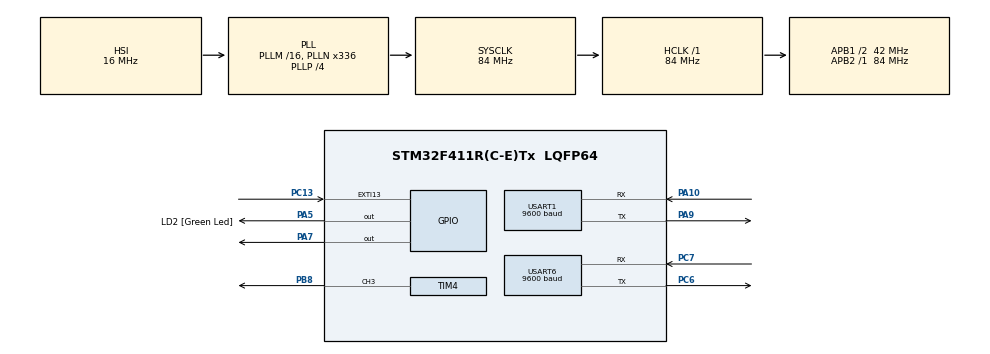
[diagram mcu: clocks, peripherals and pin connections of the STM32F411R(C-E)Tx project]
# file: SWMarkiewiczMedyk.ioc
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Mcu.Family=STM32F4
Mcu.Name=STM32F411R(C-E)Tx
Mcu.Package=LQFP64
NVIC.EXTI15_10_IRQn=true\:0\:0\:true\:false\:true
NVIC.PriorityGroup=NVIC_PRIORITYGROUP_4
NVIC.TIM1_UP_TIM10_IRQn=true\:0\:0\:false\:false\:true
NVIC.TIM4_IRQn=true\:0\:0\:false\:false\:true
NVIC.USART1_IRQn=true\:0\:0\:false\:false\:true
NVIC.USART6_IRQn=true\:0\:0\:false\:false\:true
PA10.Mode=Asynchronous
PA10.Signal=USART1_RX
PA13.GPIO_Label=TMS
PA13.Signal=SYS_JTMS-SWDIO
PA14.GPIO_Label=TCK
PA14.Signal=SYS_JTCK-SWCLK
PA2.GPIO_Label=USART_TX
PA2.Signal=USART2_TX
PA3.GPIO_Label=USART_RX
PA3.Signal=USART2_RX
PA5.GPIO_Label=LD2 [Green Led]
PA5.Signal=GPIO_Output
PA7.Signal=GPIO_Output
PA9.Mode=Asynchronous
PA9.Signal=USART1_TX
PB3.GPIO_Label=SWO
PB3.Signal=SYS_JTDO-SWO
PB8.Signal=S_TIM4_CH3
PC13-ANTI_TAMP.Signal=GPXTI13
PC14-OSC32_IN.Signal=RCC_OSC32_IN
PC15-OSC32_OUT.Signal=RCC_OSC32_OUT
PC6.Mode=Asynchronous
PC6.Signal=USART6_TX
PC7.Mode=Asynchronous
PC7.Signal=USART6_RX
PH0\ -\ OSC_IN.Signal=RCC_OSC_IN
PH1\ -\ OSC_OUT.Signal=RCC_OSC_OUT
ProjectManager.HeapSize=0x200
ProjectManager.StackSize=0x400
ProjectManager.TargetToolchain=MDK-ARM V5
RCC.48MHZClocksFreq_Value=84000000
RCC.AHBFreq_Value=84000000
RCC.APB1CLKDivider=RCC_HCLK_DIV2
RCC.APB1Freq_Value=42000000
RCC.APB1TimFreq_Value=84000000
RCC.APB2Freq_Value=84000000
RCC.APB2TimFreq_Value=84000000
RCC.CortexFreq_Value=84000000
RCC.FLatency-AdvancedSettings=FLASH_LATENCY_2
RCC.HCLKFreq_Value=84000000
RCC.HSE_VALUE=8000000
RCC.HSI_VALUE=16000000
RCC.LSE_VALUE=32768
RCC.PLLN=336
RCC.PLLP=RCC_PLLP_DIV4
RCC.SYSCLKFreq_VALUE=84000000
RCC.SYSCLKSource=RCC_SYSCLKSOURCE_PLLCLK
RCC.VCOOutputFreq_Value=336000000
SH.S_TIM4_CH3.0=TIM4_CH3,PWM Generation3 CH3
TIM10.Period=499
TIM10.Prescaler=9999
TIM4.Channel-PWM\ Generation3\ CH3=TIM_CHANNEL_3
TIM4.ClockDivision=TIM_CLOCKDIVISION_DIV1
TIM4.Period=199
TIM4.Prescaler=4999
TIM4.Pulse-PWM\ Generation3\ CH3=9
USART1.BaudRate=9600
USART6.BaudRate=9600
VP_TIM10_VS_ClockSourceINT.Mode=Enable_Timer
VP_TIM4_VS_ClockSourceINT.Mode=Internal
board=NUCLEO-F411RE

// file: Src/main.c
/**
  ******************************************************************************
  * File Name          : main.c
  * Description        : Main program body
  ******************************************************************************
  *
  * COPYRIGHT(c) 2017 STMicroelectronics
  *
  * Redistribution and use in source and binary forms, with or without modification,
  * are permitted provided that the following conditions are met:
  *   1. Redistributions of source code must retain the above copyright notice,
  *      this list of conditions and the following disclaimer.
  *   2. Redistributions in binary form must reproduce the above copyright notice,
  *      this list of conditions and the following disclaimer in the documentation
  *      and/or other materials provided with the distribution.
  *   3. Neither the name of STMicroelectronics nor the names of its contributors
  *      may be used to endorse or promote products derived from this software
  *      without specific prior written permission.
  *
  * THIS SOFTWARE IS PROVIDED BY THE COPYRIGHT HOLDERS AND CONTRIBUTORS "AS IS"
  * AND ANY EXPRESS OR IMPLIED WARRANTIES, INCLUDING, BUT NOT LIMITED TO, THE
  * IMPLIED WARRANTIES OF MERCHANTABILITY AND FITNESS FOR A PARTICULAR PURPOSE ARE
  * DISCLAIMED. IN NO EVENT SHALL THE COPYRIGHT HOLDER OR CONTRIBUTORS BE LIABLE
  * FOR ANY DIRECT, INDIRECT, INCIDENTAL, SPECIAL, EXEMPLARY, OR CONSEQUENTIAL
  * DAMAGES (INCLUDING, BUT NOT LIMITED TO, PROCUREMENT OF SUBSTITUTE GOODS OR
  * SERVICES; LOSS OF USE, DATA, OR PROFITS; OR BUSINESS INTERRUPTION) HOWEVER
  * CAUSED AND ON ANY THEORY OF LIABILITY, WHETHER IN CONTRACT, STRICT LIABILITY,
  * OR TORT (INCLUDING NEGLIGENCE OR OTHERWISE) ARISING IN ANY WAY OUT OF THE USE
  * OF THIS SOFTWARE, EVEN IF ADVISED OF THE POSSIBILITY OF SUCH DAMAGE.
  *
  ******************************************************************************
  */
#include "main.h"
#include "stm32f4xx_hal.h"

TIM_HandleTypeDef htim4;
TIM_HandleTypeDef htim10;

UART_HandleTypeDef huart1;
UART_HandleTypeDef huart6;

/* USER CODE BEGIN PV */
uint8_t received;

/* Private variables ---------------------------------------------------------*/
/* USER CODE END PV */

void SystemClock_Config(void);
void Error_Handler(void);
static void MX_GPIO_Init(void);
static void MX_USART1_UART_Init(void);
static void MX_TIM4_Init(void);
static void MX_USART6_UART_Init(void);
static void MX_TIM10_Init(void);
void HAL_TIM_MspPostInit(TIM_HandleTypeDef *htim);

/* USER CODE BEGIN PFP */
void Change_Duty_Cycle();
/* Private function prototypes -----------------------------------------------*/

/* USER CODE END PFP */

/* USER CODE BEGIN 0 */
extern volatile int counter;
volatile int counter = 0;
extern volatile uint16_t duty;
volatile uint16_t duty = 12;
/* USER CODE END 0 */

int main(void)
{

  /* MCU Configuration----------------------------------------------------------*/

  /* Reset of all peripherals, Initializes the Flash interface and the Systick. */
  HAL_Init();

  /* Configure the system clock */
  SystemClock_Config();

  /* Initialize all configured peripherals */
  MX_GPIO_Init();
  MX_USART1_UART_Init();
  MX_TIM4_Init();
  MX_USART6_UART_Init();
  MX_TIM10_Init();

  /* USER CODE BEGIN 2 */
	HAL_UART_Receive_IT(&huart1, &received, 	1);
	HAL_UART_Receive_IT(&huart6, &received, 	1);
	HAL_GPIO_WritePin(LD2_GPIO_Port, LD2_Pin, GPIO_PIN_RESET);
	HAL_GPIO_WritePin(GPIOA, GPIO_PIN_7, GPIO_PIN_RESET);
	HAL_TIM_PWM_Start(&htim4, TIM_CHANNEL_3);
	HAL_TIM_Base_Start_IT(&htim10);
	TIM4 -> CCR3 = duty;
  /* USER CODE END 2 */

  /* Infinite loop */
  while (1)
  {

  }

}

/** System Clock Configuration
*/
void SystemClock_Config(void)
{

  RCC_OscInitTypeDef RCC_OscInitStruct;
  RCC_ClkInitTypeDef RCC_ClkInitStruct;

    /**Configure the main internal regulator output voltage
    */
  __HAL_RCC_PWR_CLK_ENABLE();

  __HAL_PWR_VOLTAGESCALING_CONFIG(PWR_REGULATOR_VOLTAGE_SCALE1);

    /**Initializes the CPU, AHB and APB busses clocks
    */
  RCC_OscInitStruct.OscillatorType = RCC_OSCILLATORTYPE_HSI;
  RCC_OscInitStruct.HSIState = RCC_HSI_ON;
  RCC_OscInitStruct.HSICalibrationValue = 16;
  RCC_OscInitStruct.PLL.PLLState = RCC_PLL_ON;
  RCC_OscInitStruct.PLL.PLLSource = RCC_PLLSOURCE_HSI;
  RCC_OscInitStruct.PLL.PLLM = 16;
  RCC_OscInitStruct.PLL.PLLN = 336;
  RCC_OscInitStruct.PLL.PLLP = RCC_PLLP_DIV4;
  RCC_OscInitStruct.PLL.PLLQ = 4;
  if (HAL_RCC_OscConfig(&RCC_OscInitStruct) != HAL_OK)
  {
    Error_Handler();
  }

    /**Initializes the CPU, AHB and APB busses clocks
    */
  RCC_ClkInitStruct.ClockType = RCC_CLOCKTYPE_HCLK|RCC_CLOCKTYPE_SYSCLK
                              |RCC_CLOCKTYPE_PCLK1|RCC_CLOCKTYPE_PCLK2;
  RCC_ClkInitStruct.SYSCLKSource = RCC_SYSCLKSOURCE_PLLCLK;
  RCC_ClkInitStruct.AHBCLKDivider = RCC_SYSCLK_DIV1;
  RCC_ClkInitStruct.APB1CLKDivider = RCC_HCLK_DIV2;
  RCC_ClkInitStruct.APB2CLKDivider = RCC_HCLK_DIV1;

  if (HAL_RCC_ClockConfig(&RCC_ClkInitStruct, FLASH_LATENCY_2) != HAL_OK)
  {
    Error_Handler();
  }

    /**Configure the Systick interrupt time
    */
  HAL_SYSTICK_Config(HAL_RCC_GetHCLKFreq()/1000);

    /**Configure the Systick
    */
  HAL_SYSTICK_CLKSourceConfig(SYSTICK_CLKSOURCE_HCLK);

  /* SysTick_IRQn interrupt configuration */
  HAL_NVIC_SetPriority(SysTick_IRQn, 0, 0);
}

/* TIM4 init function */
static void MX_TIM4_Init(void)
{

  TIM_ClockConfigTypeDef sClockSourceConfig;
  TIM_MasterConfigTypeDef sMasterConfig;
  TIM_OC_InitTypeDef sConfigOC;

  htim4.Instance = TIM4;
  htim4.Init.Prescaler = 4999;
  htim4.Init.CounterMode = TIM_COUNTERMODE_UP;
  htim4.Init.Period = 199;
  htim4.Init.ClockDivision = TIM_CLOCKDIVISION_DIV1;
  if (HAL_TIM_Base_Init(&htim4) != HAL_OK)
  {
    Error_Handler();
  }

  sClockSourceConfig.ClockSource = TIM_CLOCKSOURCE_INTERNAL;
  if (HAL_TIM_ConfigClockSource(&htim4, &sClockSourceConfig) != HAL_OK)
  {
    Error_Handler();
  }

  if (HAL_TIM_PWM_Init(&htim4) != HAL_OK)
  {
    Error_Handler();
  }

  sMasterConfig.MasterOutputTrigger = TIM_TRGO_RESET;
  sMasterConfig.MasterSlaveMode = TIM_MASTERSLAVEMODE_DISABLE;
  if (HAL_TIMEx_MasterConfigSynchronization(&htim4, &sMasterConfig) != HAL_OK)
  {
    Error_Handler();
  }

  sConfigOC.OCMode = TIM_OCMODE_PWM1;
  sConfigOC.Pulse = 9;
  sConfigOC.OCPolarity = TIM_OCPOLARITY_HIGH;
  sConfigOC.OCFastMode = TIM_OCFAST_DISABLE;
  if (HAL_TIM_PWM_ConfigChannel(&htim4, &sConfigOC, TIM_CHANNEL_3) != HAL_OK)
  {
    Error_Handler();
  }

  HAL_TIM_MspPostInit(&htim4);

}

/* TIM10 init function */
static void MX_TIM10_Init(void)
{

  htim10.Instance = TIM10;
  htim10.Init.Prescaler = 9999;
  htim10.Init.CounterMode = TIM_COUNTERMODE_UP;
  htim10.Init.Period = 499;
  htim10.Init.ClockDivision = TIM_CLOCKDIVISION_DIV1;
  if (HAL_TIM_Base_Init(&htim10) != HAL_OK)
  {
    Error_Handler();
  }

}

/* USART1 init function */
static void MX_USART1_UART_Init(void)
{

  huart1.Instance = USART1;
  huart1.Init.BaudRate = 9600;
  huart1.Init.WordLength = UART_WORDLENGTH_8B;
  huart1.Init.StopBits = UART_STOPBITS_1;
  huart1.Init.Parity = UART_PARITY_NONE;
  huart1.Init.Mode = UART_MODE_TX_RX;
  huart1.Init.HwFlowCtl = UART_HWCONTROL_NONE;
  huart1.Init.OverSampling = UART_OVERSAMPLING_16;
  if (HAL_UART_Init(&huart1) != HAL_OK)
  {
    Error_Handler();
  }

}

/* USART6 init function */
static void MX_USART6_UART_Init(void)
{

  huart6.Instance = USART6;
  huart6.Init.BaudRate = 9600;
  huart6.Init.WordLength = UART_WORDLENGTH_8B;
  huart6.Init.StopBits = UART_STOPBITS_1;
  huart6.Init.Parity = UART_PARITY_NONE;
  huart6.Init.Mode = UART_MODE_TX_RX;
  huart6.Init.HwFlowCtl = UART_HWCONTROL_NONE;
  huart6.Init.OverSampling = UART_OVERSAMPLING_16;
  if (HAL_UART_Init(&huart6) != HAL_OK)
  {
    Error_Handler();
  }

}

/** Configure pins as
        * Analog
        * Input
        * Output
        * EVENT_OUT
        * EXTI
     PA2   ------> USART2_TX
     PA3   ------> USART2_RX
*/
static void MX_GPIO_Init(void)
{

  GPIO_InitTypeDef GPIO_InitStruct;

  /* GPIO Ports Clock Enable */
  __HAL_RCC_GPIOC_CLK_ENABLE();
  __HAL_RCC_GPIOH_CLK_ENABLE();
  __HAL_RCC_GPIOA_CLK_ENABLE();
  __HAL_RCC_GPIOB_CLK_ENABLE();

  /*Configure GPIO pin : PC13 */
  GPIO_InitStruct.Pin = GPIO_PIN_13;
  GPIO_InitStruct.Mode = GPIO_MODE_IT_RISING;
  GPIO_InitStruct.Pull = GPIO_NOPULL;
  HAL_GPIO_Init(GPIOC, &GPIO_InitStruct);

  /*Configure GPIO pins : USART_TX_Pin USART_RX_Pin */
  GPIO_InitStruct.Pin = USART_TX_Pin|USART_RX_Pin;
  GPIO_InitStruct.Mode = GPIO_MODE_AF_PP;
  GPIO_InitStruct.Pull = GPIO_NOPULL;
  GPIO_InitStruct.Speed = GPIO_SPEED_FREQ_VERY_HIGH;
  GPIO_InitStruct.Alternate = GPIO_AF7_USART2;
  HAL_GPIO_Init(GPIOA, &GPIO_InitStruct);

  /*Configure GPIO pins : LD2_Pin PA7 */
  GPIO_InitStruct.Pin = LD2_Pin|GPIO_PIN_7;
  GPIO_InitStruct.Mode = GPIO_MODE_OUTPUT_PP;
  GPIO_InitStruct.Pull = GPIO_NOPULL;
  GPIO_InitStruct.Speed = GPIO_SPEED_FREQ_LOW;
  HAL_GPIO_Init(GPIOA, &GPIO_InitStruct);

  /*Configure GPIO pin Output Level */
  HAL_GPIO_WritePin(GPIOA, LD2_Pin|GPIO_PIN_7, GPIO_PIN_RESET);

  /* EXTI interrupt init*/
  HAL_NVIC_SetPriority(EXTI15_10_IRQn, 0, 0);
  HAL_NVIC_EnableIRQ(EXTI15_10_IRQn);

}

/* USER CODE BEGIN 4 */
void HAL_UART_RxCpltCallback(UART_HandleTypeDef *huart)
{
	static uint8_t flag;

	if(received == 'a')
		HAL_GPIO_TogglePin(GPIOA, GPIO_PIN_7);
	else if(received == 'x')
		HAL_GPIO_WritePin(LD2_GPIO_Port, LD2_Pin, GPIO_PIN_SET);
	else if(received == 'b')
	{
		if(flag)
			duty = 25;
		else
			duty = 12;
		flag = !flag;
	}
	else if(received == 'c')
		HAL_UART_Transmit_IT(&huart6, &received, 1); //powiedzmy ze wysylam Ci e. ty mi odsylasz, ja Tobie i gramy w pingponga a ilosc pileczek sie zwieksza. czy cos takiego nie istnieje?
	else if(received == 'd')
		HAL_UART_Transmit_IT(&huart6, &received, 1);

	HAL_UART_Receive_IT(&huart1, &received, 1);
}
void HAL_SYSTICK_Callback(void)
{
	TIM4 -> CCR3 = duty;
}

void HAL_GPIO_EXTI_Callback(uint16_t GPIO_Pin)
{

  if (GPIO_Pin == GPIO_PIN_13)
  {
		//Change_Duty_Cycle(2);
  }
}
void HAL_TIM_PeriodElapsedCallback(TIM_HandleTypeDef *htim)
{
	if(htim->Instance == TIM10)
		{ // Jezeli przerwanie pochodzi od timera 10
		if(HAL_GPIO_ReadPin(GPIOC, GPIO_PIN_13) == GPIO_PIN_RESET)
			Change_Duty_Cycle(1);
		}
}
void Change_Duty_Cycle(int offset)
{
	static uint8_t direction;

	if(direction)
		duty -= offset;
	else
		duty += offset;

	if(duty>25)
	{
		direction = 1;
		duty = 25;
	}
	else if(duty < 12)
	{
		direction = 0;
		duty = 12;
	}
}

/* USER CODE END 4 */

void Error_Handler(void)
{
  while(1)
  {
  }
}

/************************ (C) COPYRIGHT STMicroelectronics *****END OF FILE****/
